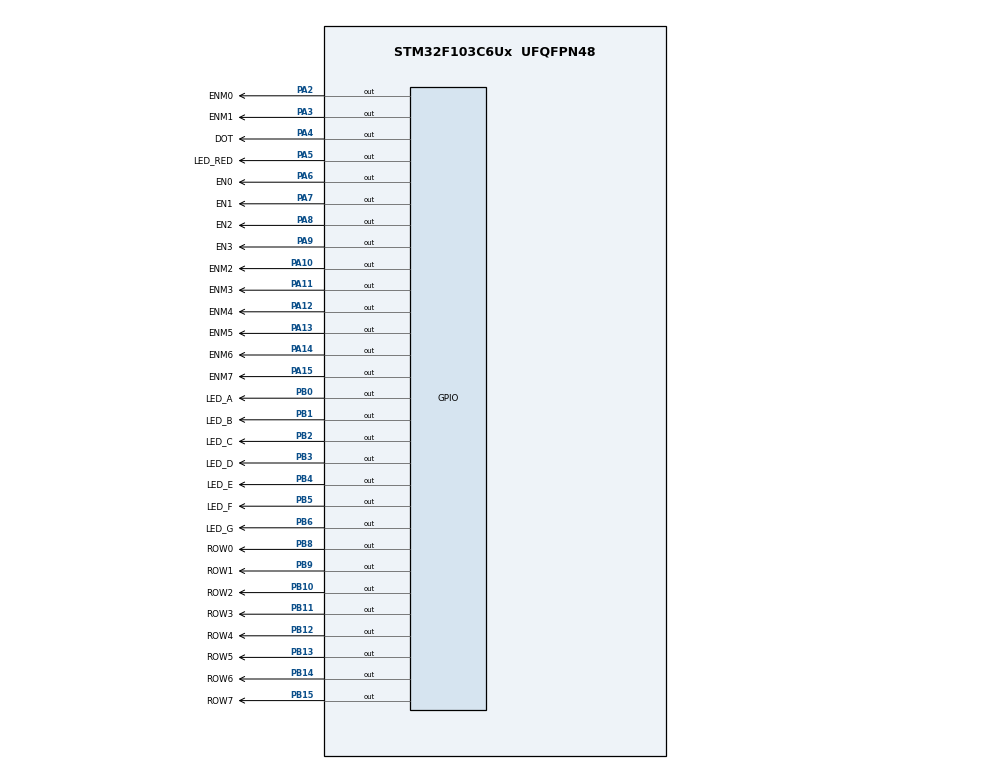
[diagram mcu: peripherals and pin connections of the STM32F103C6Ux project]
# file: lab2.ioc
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Mcu.Family=STM32F1
Mcu.Name=STM32F103C6Ux
Mcu.Package=UFQFPN48
NVIC.PriorityGroup=NVIC_PRIORITYGROUP_4
NVIC.TIM2_IRQn=true\:0\:0\:false\:false\:true\:true\:true
PA10.GPIO_Label=ENM2
PA10.Signal=GPIO_Output
PA11.GPIO_Label=ENM3
PA11.Signal=GPIO_Output
PA12.GPIO_Label=ENM4
PA12.Signal=GPIO_Output
PA13.GPIO_Label=ENM5
PA13.Signal=GPIO_Output
PA14.GPIO_Label=ENM6
PA14.Signal=GPIO_Output
PA15.GPIO_Label=ENM7
PA15.Signal=GPIO_Output
PA2.GPIO_Label=ENM0
PA2.Signal=GPIO_Output
PA3.GPIO_Label=ENM1
PA3.Signal=GPIO_Output
PA4.GPIO_Label=DOT
PA4.Signal=GPIO_Output
PA5.GPIO_Label=LED_RED
PA5.Signal=GPIO_Output
PA6.GPIO_Label=EN0
PA6.Signal=GPIO_Output
PA7.GPIO_Label=EN1
PA7.Signal=GPIO_Output
PA8.GPIO_Label=EN2
PA8.Signal=GPIO_Output
PA9.GPIO_Label=EN3
PA9.Signal=GPIO_Output
PB0.GPIO_Label=LED_A
PB0.Signal=GPIO_Output
PB1.GPIO_Label=LED_B
PB1.Signal=GPIO_Output
PB10.GPIO_Label=ROW2
PB10.Signal=GPIO_Output
PB11.GPIO_Label=ROW3
PB11.Signal=GPIO_Output
PB12.GPIO_Label=ROW4
PB12.Signal=GPIO_Output
PB13.GPIO_Label=ROW5
PB13.Signal=GPIO_Output
PB14.GPIO_Label=ROW6
PB14.Signal=GPIO_Output
PB15.GPIO_Label=ROW7
PB15.Signal=GPIO_Output
PB2.GPIO_Label=LED_C
PB2.Signal=GPIO_Output
PB3.GPIO_Label=LED_D
PB3.Signal=GPIO_Output
PB4.GPIO_Label=LED_E
PB4.Signal=GPIO_Output
PB5.GPIO_Label=LED_F
PB5.Signal=GPIO_Output
PB6.GPIO_Label=LED_G
PB6.Signal=GPIO_Output
PB8.GPIO_Label=ROW0
PB8.Signal=GPIO_Output
PB9.GPIO_Label=ROW1
PB9.Signal=GPIO_Output
ProjectManager.HeapSize=0x200
ProjectManager.StackSize=0x400
ProjectManager.TargetToolchain=STM32CubeIDE
RCC.APB1Freq_Value=8000000
RCC.APB2Freq_Value=8000000
TIM2.Period=9
TIM2.Prescaler=7999
VP_SYS_VS_ND.Mode=No_Debug
VP_TIM2_VS_ClockSourceINT.Mode=Internal
board=custom

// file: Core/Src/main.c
/* USER CODE BEGIN Header */
/**
  ******************************************************************************
  * @file           : main.c
  * @brief          : Main program body
  ******************************************************************************
  * @attention
  *
  * <h2><center>&copy; Copyright (c) 2022 STMicroelectronics.
  * All rights reserved.</center></h2>
  *
  * This software component is licensed by ST under BSD 3-Clause license,
  * the "License"; You may not use this file except in compliance with the
  * License. You may obtain a copy of the License at:
  *                        opensource.org/licenses/BSD-3-Clause
  *
  ******************************************************************************
  */
/* USER CODE END Header */
#include "main.h"
#include "software_timer.h"

TIM_HandleTypeDef htim2;

void SystemClock_Config(void);
static void MX_GPIO_Init(void);
static void MX_TIM2_Init(void);

/* USER CODE BEGIN 0 */
void display7SEG(int num){
	if (num == 0){
		HAL_GPIO_WritePin(LED_A_GPIO_Port, LED_A_Pin, GPIO_PIN_RESET);
		HAL_GPIO_WritePin(LED_B_GPIO_Port, LED_B_Pin, GPIO_PIN_RESET);
		HAL_GPIO_WritePin(LED_C_GPIO_Port, LED_C_Pin, GPIO_PIN_RESET);
		HAL_GPIO_WritePin(LED_D_GPIO_Port, LED_D_Pin, GPIO_PIN_RESET);
		HAL_GPIO_WritePin(LED_E_GPIO_Port, LED_E_Pin, GPIO_PIN_RESET);
		HAL_GPIO_WritePin(LED_F_GPIO_Port, LED_F_Pin, GPIO_PIN_RESET);
		HAL_GPIO_WritePin(LED_G_GPIO_Port, LED_G_Pin, GPIO_PIN_SET);
	}
	else  if (num == 1){
		HAL_GPIO_WritePin(LED_A_GPIO_Port, LED_A_Pin, GPIO_PIN_SET);
		HAL_GPIO_WritePin(LED_B_GPIO_Port, LED_B_Pin, GPIO_PIN_RESET);
		HAL_GPIO_WritePin(LED_C_GPIO_Port, LED_C_Pin, GPIO_PIN_RESET);
		HAL_GPIO_WritePin(LED_D_GPIO_Port, LED_D_Pin, GPIO_PIN_SET);
		HAL_GPIO_WritePin(LED_E_GPIO_Port, LED_E_Pin, GPIO_PIN_SET);
		HAL_GPIO_WritePin(LED_F_GPIO_Port, LED_F_Pin, GPIO_PIN_SET);
		HAL_GPIO_WritePin(LED_G_GPIO_Port, LED_G_Pin, GPIO_PIN_SET);
	}
	else  if (num == 2){
		HAL_GPIO_WritePin(LED_A_GPIO_Port, LED_A_Pin, GPIO_PIN_RESET);
		HAL_GPIO_WritePin(LED_B_GPIO_Port, LED_B_Pin, GPIO_PIN_RESET);
		HAL_GPIO_WritePin(LED_C_GPIO_Port, LED_C_Pin, GPIO_PIN_SET);
		HAL_GPIO_WritePin(LED_D_GPIO_Port, LED_D_Pin, GPIO_PIN_RESET);
		HAL_GPIO_WritePin(LED_E_GPIO_Port, LED_E_Pin, GPIO_PIN_RESET);
		HAL_GPIO_WritePin(LED_F_GPIO_Port, LED_F_Pin, GPIO_PIN_SET);
		HAL_GPIO_WritePin(LED_G_GPIO_Port, LED_G_Pin, GPIO_PIN_RESET);
	}
	else  if (num == 3){
		HAL_GPIO_WritePin(LED_A_GPIO_Port, LED_A_Pin, GPIO_PIN_RESET);
		HAL_GPIO_WritePin(LED_B_GPIO_Port, LED_B_Pin, GPIO_PIN_RESET);
		HAL_GPIO_WritePin(LED_C_GPIO_Port, LED_C_Pin, GPIO_PIN_RESET);
		HAL_GPIO_WritePin(LED_D_GPIO_Port, LED_D_Pin, GPIO_PIN_RESET);
		HAL_GPIO_WritePin(LED_E_GPIO_Port, LED_E_Pin, GPIO_PIN_SET);
		HAL_GPIO_WritePin(LED_F_GPIO_Port, LED_F_Pin, GPIO_PIN_SET);
		HAL_GPIO_WritePin(LED_G_GPIO_Port, LED_G_Pin, GPIO_PIN_RESET);
	}
	else  if (num == 4){
		HAL_GPIO_WritePin(LED_A_GPIO_Port, LED_A_Pin, GPIO_PIN_SET);
		HAL_GPIO_WritePin(LED_B_GPIO_Port, LED_B_Pin, GPIO_PIN_RESET);
		HAL_GPIO_WritePin(LED_C_GPIO_Port, LED_C_Pin, GPIO_PIN_RESET);
		HAL_GPIO_WritePin(LED_D_GPIO_Port, LED_D_Pin, GPIO_PIN_SET);
		HAL_GPIO_WritePin(LED_E_GPIO_Port, LED_E_Pin, GPIO_PIN_SET);
		HAL_GPIO_WritePin(LED_F_GPIO_Port, LED_F_Pin, GPIO_PIN_RESET);
		HAL_GPIO_WritePin(LED_G_GPIO_Port, LED_G_Pin, GPIO_PIN_RESET);
	}
	else  if (num == 5){
		HAL_GPIO_WritePin(LED_A_GPIO_Port, LED_A_Pin, GPIO_PIN_RESET);
		HAL_GPIO_WritePin(LED_B_GPIO_Port, LED_B_Pin, GPIO_PIN_SET);
		HAL_GPIO_WritePin(LED_C_GPIO_Port, LED_C_Pin, GPIO_PIN_RESET);
		HAL_GPIO_WritePin(LED_D_GPIO_Port, LED_D_Pin, GPIO_PIN_RESET);
		HAL_GPIO_WritePin(LED_E_GPIO_Port, LED_E_Pin, GPIO_PIN_SET);
		HAL_GPIO_WritePin(LED_F_GPIO_Port, LED_F_Pin, GPIO_PIN_RESET);
		HAL_GPIO_WritePin(LED_G_GPIO_Port, LED_G_Pin, GPIO_PIN_RESET);
	}
	else  if (num == 6){
		HAL_GPIO_WritePin(LED_A_GPIO_Port, LED_A_Pin, GPIO_PIN_RESET);
		HAL_GPIO_WritePin(LED_B_GPIO_Port, LED_B_Pin, GPIO_PIN_SET);
		HAL_GPIO_WritePin(LED_C_GPIO_Port, LED_C_Pin, GPIO_PIN_RESET);
		HAL_GPIO_WritePin(LED_D_GPIO_Port, LED_D_Pin, GPIO_PIN_RESET);
		HAL_GPIO_WritePin(LED_E_GPIO_Port, LED_E_Pin, GPIO_PIN_RESET);
		HAL_GPIO_WritePin(LED_F_GPIO_Port, LED_F_Pin, GPIO_PIN_RESET);
		HAL_GPIO_WritePin(LED_G_GPIO_Port, LED_G_Pin, GPIO_PIN_RESET);
	}
	else  if (num == 7){
		HAL_GPIO_WritePin(LED_A_GPIO_Port, LED_A_Pin, GPIO_PIN_RESET);
		HAL_GPIO_WritePin(LED_B_GPIO_Port, LED_B_Pin, GPIO_PIN_RESET);
		HAL_GPIO_WritePin(LED_C_GPIO_Port, LED_C_Pin, GPIO_PIN_RESET);
		HAL_GPIO_WritePin(LED_D_GPIO_Port, LED_D_Pin, GPIO_PIN_SET);
		HAL_GPIO_WritePin(LED_E_GPIO_Port, LED_E_Pin, GPIO_PIN_SET);
		HAL_GPIO_WritePin(LED_F_GPIO_Port, LED_F_Pin, GPIO_PIN_SET);
		HAL_GPIO_WritePin(LED_G_GPIO_Port, LED_G_Pin, GPIO_PIN_SET);
	}
	else  if (num == 8){
		HAL_GPIO_WritePin(LED_A_GPIO_Port, LED_A_Pin, GPIO_PIN_RESET);
		HAL_GPIO_WritePin(LED_B_GPIO_Port, LED_B_Pin, GPIO_PIN_RESET);
		HAL_GPIO_WritePin(LED_C_GPIO_Port, LED_C_Pin, GPIO_PIN_RESET);
		HAL_GPIO_WritePin(LED_D_GPIO_Port, LED_D_Pin, GPIO_PIN_RESET);
		HAL_GPIO_WritePin(LED_E_GPIO_Port, LED_E_Pin, GPIO_PIN_RESET);
		HAL_GPIO_WritePin(LED_F_GPIO_Port, LED_F_Pin, GPIO_PIN_RESET);
		HAL_GPIO_WritePin(LED_G_GPIO_Port, LED_G_Pin, GPIO_PIN_RESET);
	}
	else  if (num == 9){
		HAL_GPIO_WritePin(LED_A_GPIO_Port, LED_A_Pin, GPIO_PIN_RESET);
		HAL_GPIO_WritePin(LED_B_GPIO_Port, LED_B_Pin, GPIO_PIN_RESET);
		HAL_GPIO_WritePin(LED_C_GPIO_Port, LED_C_Pin, GPIO_PIN_RESET);
		HAL_GPIO_WritePin(LED_D_GPIO_Port, LED_D_Pin, GPIO_PIN_RESET);
		HAL_GPIO_WritePin(LED_E_GPIO_Port, LED_E_Pin, GPIO_PIN_SET);
		HAL_GPIO_WritePin(LED_F_GPIO_Port, LED_F_Pin, GPIO_PIN_RESET);
		HAL_GPIO_WritePin(LED_G_GPIO_Port, LED_G_Pin, GPIO_PIN_RESET);
	}
}

const int MAX_LED = 4;
int index_led = 0;
int led_buffer[4] = {1, 5, 0, 8};
//void update7SEG(int index){
//    switch (index){
//		case 0: {
//			display7SEG(led_buffer[index]);
//			break ;
//		}
//		case 1:{
//			display7SEG(led_buffer[index]);
//			break ;
//		}
//		case 2:{
//			display7SEG(led_buffer[index]);
//			break ;
//		}
//		case 3:{
//			display7SEG(led_buffer[index]);
//			break ;
//		}
//		default :{
//		break ;
//		}
//    }
//}

void updateClockBuffer(int hour, int minute){
	if (hour < 10){
		led_buffer[0] = 0;
		led_buffer[1] = hour;
	} else {
		led_buffer[0] = hour / 10;
		led_buffer[1] = hour % 10;
	}
	if (minute < 10){
		led_buffer[2] = 0;
		led_buffer[3] = minute;
	} else {
		led_buffer[2] = minute / 10;
		led_buffer[3] = minute % 10;
	}
}

//const int MAX_LED_MATRIX = 8;
//int index_led_matrix = 0;
//uint8_t matrix_buffer [8] = {0x01 , 0x02 , 0x03 , 0x04 , 0x05 , 0x06 , 0x07 , 0x08 };
//uint8_t Hang[] = {0xff00,0x8000,0x7700,0x7700,0x7700,0x7700,0x8000,0xff00}
//void updateLEDMatrix (int index ){
//	switch ( index ){
//		case 0:
//			HAL_GPIO_WritePin(ENM0_GPIO_Port, ENM0_Pin, GPIO_PIN_RESET);
//
//			HAL_GPIO_WritePin(ROW0_GPIO_Port, ROW0_Pin, GPIO_PIN_SET);
//			HAL_GPIO_WritePin(ROW0_GPIO_Port, ROW0_Pin, GPIO_PIN_SET);
//			HAL_GPIO_WritePin(ROW0_GPIO_Port, ROW0_Pin, GPIO_PIN_SET);
//			HAL_GPIO_WritePin(ROW0_GPIO_Port, ROW0_Pin, GPIO_PIN_SET);
//			HAL_GPIO_WritePin(ROW0_GPIO_Port, ROW0_Pin, GPIO_PIN_SET);
//			HAL_GPIO_WritePin(ROW0_GPIO_Port, ROW0_Pin, GPIO_PIN_SET);
//			HAL_GPIO_WritePin(ROW0_GPIO_Port, ROW0_Pin, GPIO_PIN_SET);
//			break ;
//		case 1:
//			break ;
//		case 2:
//			break ;
//		case 3:
//			break ;
//		case 4:
//			break ;
//		case 5:
//			break ;
//		case 6:
//			break ;
//		case 7:
//			break ;
//		default :
//			break ;
//	}
//}

const int MAX_LED_MATRIX = 8;
  int index_led_matrix = 0;
  uint8_t matrix_buffer[8] = {0x00, 0xfe, 0x11, 0x11, 0x11, 0x11, 0xfe, 0x00};
  //uint8_t matrix_buffer[8] = {0xff00,0x8000,0x7700,0x7700,0x7700,0x7700,0x8000,0xff00};
  //uint8_t matrix_buffer[8] = {0x01, 0x02, 0x03, 0x04, 0x05, 0x06, 0x07, 0x08};
  /* Function get buffer to GPIO */
  void getBuffer(uint8_t config)
  {
    HAL_GPIO_WritePin(GPIOB, ROW0_Pin, !(config&1));
    config = config >> 1;
    HAL_GPIO_WritePin(GPIOB, ROW1_Pin, !(config&1));
    config = config >> 1;
    HAL_GPIO_WritePin(GPIOB, ROW2_Pin, !(config&1));
    config = config >> 1;
    HAL_GPIO_WritePin(GPIOB, ROW3_Pin, !(config&1));
    config = config >> 1;
    HAL_GPIO_WritePin(GPIOB, ROW4_Pin, !(config&1));
    config = config >> 1;
    HAL_GPIO_WritePin(GPIOB, ROW5_Pin, !(config&1));
    config = config >> 1;
    HAL_GPIO_WritePin(GPIOB, ROW6_Pin, !(config&1));
    config = config >> 1;
    HAL_GPIO_WritePin(GPIOB, ROW7_Pin, !(config&1));
  }

  void updateLEDMatrix(int index)
    {
      switch(index)
      {
      case 0:
        getBuffer(matrix_buffer[0]);
        break;
      case 1:
  	  getBuffer(matrix_buffer[1]);
        break;
      case 2:
          getBuffer(matrix_buffer[2]);
        break;
      case 3:
          getBuffer(matrix_buffer[3]);
        break;
      case 4:
          getBuffer(matrix_buffer[4]);
        break;
      case 5:
          getBuffer(matrix_buffer[5]);
        break;
      case 6:
          getBuffer(matrix_buffer[6]);
        break;
      case 7:
          getBuffer(matrix_buffer[7]);
        break;
      default:
        break;
      }
    }

  void clearENM()
  {
	  HAL_GPIO_WritePin(GPIOA, ENM0_Pin | ENM1_Pin | ENM2_Pin |
                               ENM3_Pin | ENM4_Pin | ENM5_Pin |
							   ENM6_Pin | ENM7_Pin, 1);
  }

  /* Fuction for open ENM GPIO */
void openENM(int index){
 	switch(index) {
		case 0:
		  HAL_GPIO_WritePin(GPIOA, ENM0_Pin, 0);
		  break;
		case 1:
		  HAL_GPIO_WritePin(GPIOA, ENM1_Pin, 0);
		  break;
		case 2:
		  HAL_GPIO_WritePin(GPIOA, ENM2_Pin, 0);
		  break;
		case 3:
		  HAL_GPIO_WritePin(GPIOA, ENM3_Pin, 0);
		  break;
		case 4:
		  HAL_GPIO_WritePin(GPIOA, ENM4_Pin, 0);
		  break;
		case 5:
		  HAL_GPIO_WritePin(GPIOA, ENM5_Pin, 0);
		  break;
		case 6:
		  HAL_GPIO_WritePin(GPIOA, ENM6_Pin, 0);
		  break;
		case 7:
		  HAL_GPIO_WritePin(GPIOA, ENM7_Pin, 0);
		  break;
		default:
		  break;
 	}
}

void HAL_TIM_PeriodElapsedCallback ( TIM_HandleTypeDef * htim )
{
	timer_run();

	///////////////////
//	counter --;
//		if( counter <= 0){
//		counter = 25;
//		if (flag == 0 ){
//			HAL_GPIO_TogglePin(LED_RED_GPIO_Port, LED_RED_Pin);
//			HAL_GPIO_TogglePin(DOT_GPIO_Port, DOT_Pin); // DOT chi co trong if nay de cho 0.25*4 = 1s
//
//			HAL_GPIO_WritePin(EN0_GPIO_Port, EN0_Pin, GPIO_PIN_RESET);
//			HAL_GPIO_WritePin(EN1_GPIO_Port, EN1_Pin, GPIO_PIN_SET);
//			HAL_GPIO_WritePin(EN2_GPIO_Port, EN2_Pin, GPIO_PIN_SET);
//			HAL_GPIO_WritePin(EN3_GPIO_Port, EN3_Pin, GPIO_PIN_SET);
//			flag = 1;
//			update7SEG(index_led);
//			index_led++;
//
//		}
//		else if (flag == 1) {
//			HAL_GPIO_WritePin(EN0_GPIO_Port, EN0_Pin, GPIO_PIN_SET);
//			HAL_GPIO_WritePin(EN1_GPIO_Port, EN1_Pin, GPIO_PIN_RESET);
//			HAL_GPIO_WritePin(EN2_GPIO_Port, EN2_Pin, GPIO_PIN_SET);
//			HAL_GPIO_WritePin(EN3_GPIO_Port, EN3_Pin, GPIO_PIN_SET);
//			flag = 2;
//			update7SEG(index_led);
//			index_led++;
//		}
//		else if (flag == 2) {
//
//			HAL_GPIO_WritePin(EN0_GPIO_Port, EN0_Pin, GPIO_PIN_SET);
//			HAL_GPIO_WritePin(EN1_GPIO_Port, EN1_Pin, GPIO_PIN_SET);
//			HAL_GPIO_WritePin(EN2_GPIO_Port, EN2_Pin, GPIO_PIN_RESET);
//			HAL_GPIO_WritePin(EN3_GPIO_Port, EN3_Pin, GPIO_PIN_SET);
//			flag = 3;
//			update7SEG(index_led);
//			index_led++;
//		}
//		else if (flag == 3) {
//				HAL_GPIO_WritePin(EN0_GPIO_Port, EN0_Pin, GPIO_PIN_SET);
//				HAL_GPIO_WritePin(EN1_GPIO_Port, EN1_Pin, GPIO_PIN_SET);
//				HAL_GPIO_WritePin(EN2_GPIO_Port, EN2_Pin, GPIO_PIN_SET);
//				HAL_GPIO_WritePin(EN3_GPIO_Port, EN3_Pin, GPIO_PIN_RESET);
//				flag = 0;
//				update7SEG(index_led);
//				index_led = 0;
//			}
//		}
}
/* USER CODE END 0 */

int main(void)
{

  /* MCU Configuration--------------------------------------------------------*/

  /* Reset of all peripherals, Initializes the Flash interface and the Systick. */
  HAL_Init();

  /* Configure the system clock */
  SystemClock_Config();

  /* Initialize all configured peripherals */
  MX_GPIO_Init();
  MX_TIM2_Init();
  /* USER CODE BEGIN 2 */
  HAL_TIM_Base_Start_IT (& htim2 );
  int status = 0;
  setTimer0(10);
  setTimer1(10);
  setTimer2(10);
  setTimer3(10);
  setTimer4(10);
  int hour = 15, minute = 8, second = 50;
  /* USER CODE END 2 */

  /* Infinite loop */
  /* USER CODE BEGIN WHILE */
  while (1)
  {
	  void update7SEG(int index){
		  switch (index){
			case 0: {
				display7SEG(led_buffer[index]);
				break ;
			}
			case 1:{
				display7SEG(led_buffer[index]);
				break ;
			}
			case 2:{
				display7SEG(led_buffer[index]);
				break ;
			}
			case 3:{
				display7SEG(led_buffer[index]);
				break ;
			}
			default :{
			break ;
			}
		  }
	  }

	  if (timer0_flag == 1){
		  second ++;
		  if ( second >= 60) {
			  second = 0;
			  minute ++;
		  }
		  if( minute >= 60) {
			  minute = 0;
			  hour ++;
		  }
		  if( hour >=24){
			  hour = 0;
		  }
		  updateClockBuffer (hour, minute);
		  setTimer0(1000);
	  }

	  if( timer1_flag == 1){
		  HAL_GPIO_TogglePin ( LED_RED_GPIO_Port , LED_RED_Pin );
		  setTimer1(2000) ;
	  }
	  if (timer2_flag == 1){

	   		  switch (status) {
	   		  case 0: {
	   					HAL_GPIO_WritePin(EN0_GPIO_Port, EN0_Pin, GPIO_PIN_RESET);
	   					HAL_GPIO_WritePin(EN1_GPIO_Port, EN1_Pin, GPIO_PIN_SET);
	   					HAL_GPIO_WritePin(EN2_GPIO_Port, EN2_Pin, GPIO_PIN_SET);
	   					HAL_GPIO_WritePin(EN3_GPIO_Port, EN3_Pin, GPIO_PIN_SET);
	   					status = 1;
	   					update7SEG(index_led);
	   					index_led++;
	   					break;
	   		  }
	   		  case 1: {
	   					HAL_GPIO_WritePin(EN0_GPIO_Port, EN0_Pin, GPIO_PIN_SET);
	   					HAL_GPIO_WritePin(EN1_GPIO_Port, EN1_Pin, GPIO_PIN_RESET);
	   					HAL_GPIO_WritePin(EN2_GPIO_Port, EN2_Pin, GPIO_PIN_SET);
	   					HAL_GPIO_WritePin(EN3_GPIO_Port, EN3_Pin, GPIO_PIN_SET);
	   					status = 2;
	   					update7SEG(index_led);
	   					index_led++;
	   					break;
	   		  }
	   		  case 2:{
	   					HAL_GPIO_WritePin(EN0_GPIO_Port, EN0_Pin, GPIO_PIN_SET);
	   					HAL_GPIO_WritePin(EN1_GPIO_Port, EN1_Pin, GPIO_PIN_SET);
	   					HAL_GPIO_WritePin(EN2_GPIO_Port, EN2_Pin, GPIO_PIN_RESET);
	   					HAL_GPIO_WritePin(EN3_GPIO_Port, EN3_Pin, GPIO_PIN_SET);
	   					status = 3;
	   					update7SEG(index_led);
	   					index_led++;
	   					break;
	   		  }
	   		  case 3:{
	   					HAL_GPIO_WritePin(EN0_GPIO_Port, EN0_Pin, GPIO_PIN_SET);
	   					HAL_GPIO_WritePin(EN1_GPIO_Port, EN1_Pin, GPIO_PIN_SET);
	   					HAL_GPIO_WritePin(EN2_GPIO_Port, EN2_Pin, GPIO_PIN_SET);
	   					HAL_GPIO_WritePin(EN3_GPIO_Port, EN3_Pin, GPIO_PIN_RESET);
	   					status = 0;
	   					update7SEG(index_led);
	   					index_led = 0;
	   					break;
	   		  }
	   		  default:
	   			  break;
	   		  }
	   		  setTimer2(250);
	   	  }
	   	 if (timer3_flag == 1){
	   		 HAL_GPIO_TogglePin(DOT_GPIO_Port, DOT_Pin);
	   		 setTimer3(1000);
	   	 }
	   	 if (timer4_flag == 1){
	   		clearENM();
	   		openENM(index_led_matrix);
	   		updateLEDMatrix(index_led_matrix);
	   		index_led_matrix++;
	   		if(index_led_matrix > 7) index_led_matrix = 0;
	   		 setTimer4(10);
	   	 }

//	   HAL_Delay (1000) ;
    /* USER CODE END WHILE */

  }
}

void SystemClock_Config(void)
{
  RCC_OscInitTypeDef RCC_OscInitStruct = {0};
  RCC_ClkInitTypeDef RCC_ClkInitStruct = {0};

  /** Initializes the RCC Oscillators according to the specified parameters
  * in the RCC_OscInitTypeDef structure.
  */
  RCC_OscInitStruct.OscillatorType = RCC_OSCILLATORTYPE_HSI;
  RCC_OscInitStruct.HSIState = RCC_HSI_ON;
  RCC_OscInitStruct.HSICalibrationValue = RCC_HSICALIBRATION_DEFAULT;
  RCC_OscInitStruct.PLL.PLLState = RCC_PLL_NONE;
  if (HAL_RCC_OscConfig(&RCC_OscInitStruct) != HAL_OK)
  {
    Error_Handler();
  }
  /** Initializes the CPU, AHB and APB buses clocks
  */
  RCC_ClkInitStruct.ClockType = RCC_CLOCKTYPE_HCLK|RCC_CLOCKTYPE_SYSCLK
                              |RCC_CLOCKTYPE_PCLK1|RCC_CLOCKTYPE_PCLK2;
  RCC_ClkInitStruct.SYSCLKSource = RCC_SYSCLKSOURCE_HSI;
  RCC_ClkInitStruct.AHBCLKDivider = RCC_SYSCLK_DIV1;
  RCC_ClkInitStruct.APB1CLKDivider = RCC_HCLK_DIV1;
  RCC_ClkInitStruct.APB2CLKDivider = RCC_HCLK_DIV1;

  if (HAL_RCC_ClockConfig(&RCC_ClkInitStruct, FLASH_LATENCY_0) != HAL_OK)
  {
    Error_Handler();
  }
}

static void MX_TIM2_Init(void)
{

  TIM_ClockConfigTypeDef sClockSourceConfig = {0};
  TIM_MasterConfigTypeDef sMasterConfig = {0};

  htim2.Instance = TIM2;
  htim2.Init.Prescaler = 7999;
  htim2.Init.CounterMode = TIM_COUNTERMODE_UP;
  htim2.Init.Period = 9;
  htim2.Init.ClockDivision = TIM_CLOCKDIVISION_DIV1;
  htim2.Init.AutoReloadPreload = TIM_AUTORELOAD_PRELOAD_DISABLE;
  if (HAL_TIM_Base_Init(&htim2) != HAL_OK)
  {
    Error_Handler();
  }
  sClockSourceConfig.ClockSource = TIM_CLOCKSOURCE_INTERNAL;
  if (HAL_TIM_ConfigClockSource(&htim2, &sClockSourceConfig) != HAL_OK)
  {
    Error_Handler();
  }
  sMasterConfig.MasterOutputTrigger = TIM_TRGO_RESET;
  sMasterConfig.MasterSlaveMode = TIM_MASTERSLAVEMODE_DISABLE;
  if (HAL_TIMEx_MasterConfigSynchronization(&htim2, &sMasterConfig) != HAL_OK)
  {
    Error_Handler();
  }

}

static void MX_GPIO_Init(void)
{
  GPIO_InitTypeDef GPIO_InitStruct = {0};

  /* GPIO Ports Clock Enable */
  __HAL_RCC_GPIOA_CLK_ENABLE();
  __HAL_RCC_GPIOB_CLK_ENABLE();

  /*Configure GPIO pin Output Level */
  HAL_GPIO_WritePin(GPIOA, ENM0_Pin|ENM1_Pin|DOT_Pin|LED_RED_Pin
                          |EN0_Pin|EN1_Pin|EN2_Pin|EN3_Pin
                          |ENM2_Pin|ENM3_Pin|ENM4_Pin|ENM5_Pin
                          |ENM6_Pin|ENM7_Pin, GPIO_PIN_RESET);

  /*Configure GPIO pin Output Level */
  HAL_GPIO_WritePin(GPIOB, LED_A_Pin|LED_B_Pin|LED_C_Pin|ROW2_Pin
                          |ROW3_Pin|ROW4_Pin|ROW5_Pin|ROW6_Pin
                          |ROW7_Pin|LED_D_Pin|LED_E_Pin|LED_F_Pin
                          |LED_G_Pin|ROW0_Pin|ROW1_Pin, GPIO_PIN_RESET);

  /*Configure GPIO pins : ENM0_Pin ENM1_Pin DOT_Pin LED_RED_Pin
                           EN0_Pin EN1_Pin EN2_Pin EN3_Pin
                           ENM2_Pin ENM3_Pin ENM4_Pin ENM5_Pin
                           ENM6_Pin ENM7_Pin */
  GPIO_InitStruct.Pin = ENM0_Pin|ENM1_Pin|DOT_Pin|LED_RED_Pin
                          |EN0_Pin|EN1_Pin|EN2_Pin|EN3_Pin
                          |ENM2_Pin|ENM3_Pin|ENM4_Pin|ENM5_Pin
                          |ENM6_Pin|ENM7_Pin;
  GPIO_InitStruct.Mode = GPIO_MODE_OUTPUT_PP;
  GPIO_InitStruct.Pull = GPIO_NOPULL;
  GPIO_InitStruct.Speed = GPIO_SPEED_FREQ_LOW;
  HAL_GPIO_Init(GPIOA, &GPIO_InitStruct);

  /*Configure GPIO pins : LED_A_Pin LED_B_Pin LED_C_Pin ROW2_Pin
                           ROW3_Pin ROW4_Pin ROW5_Pin ROW6_Pin
                           ROW7_Pin LED_D_Pin LED_E_Pin LED_F_Pin
                           LED_G_Pin ROW0_Pin ROW1_Pin */
  GPIO_InitStruct.Pin = LED_A_Pin|LED_B_Pin|LED_C_Pin|ROW2_Pin
                          |ROW3_Pin|ROW4_Pin|ROW5_Pin|ROW6_Pin
                          |ROW7_Pin|LED_D_Pin|LED_E_Pin|LED_F_Pin
                          |LED_G_Pin|ROW0_Pin|ROW1_Pin;
  GPIO_InitStruct.Mode = GPIO_MODE_OUTPUT_PP;
  GPIO_InitStruct.Pull = GPIO_NOPULL;
  GPIO_InitStruct.Speed = GPIO_SPEED_FREQ_LOW;
  HAL_GPIO_Init(GPIOB, &GPIO_InitStruct);

}

void Error_Handler(void)
{
  __disable_irq();
  while (1)
  {
  }
}

/************************ (C) COPYRIGHT STMicroelectronics *****END OF FILE****/
